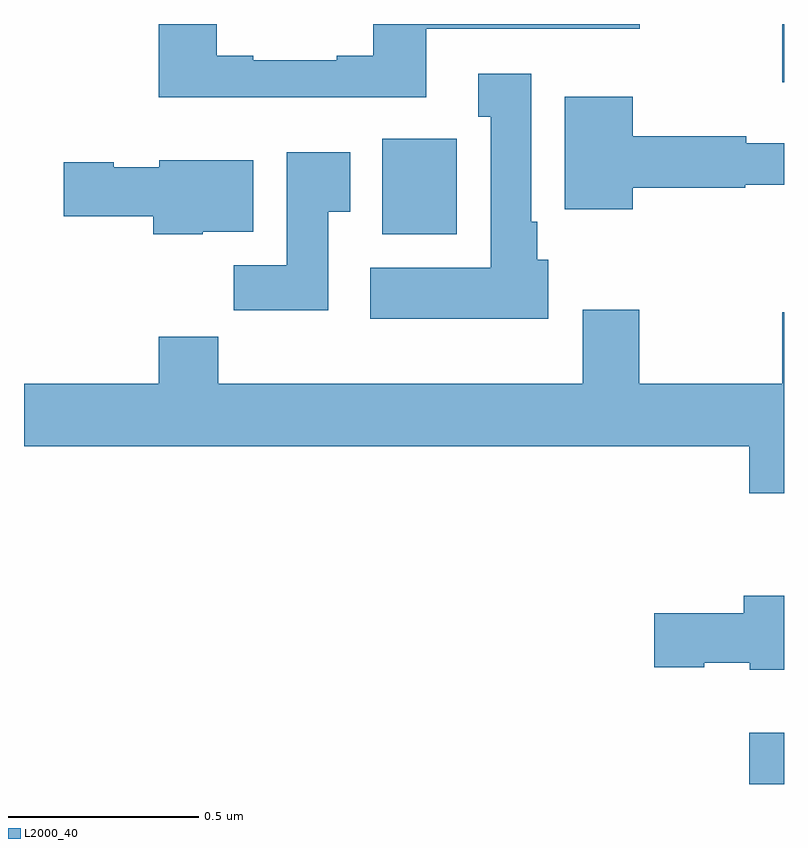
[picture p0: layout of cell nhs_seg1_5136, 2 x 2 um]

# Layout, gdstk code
import gdstk
lib = gdstk.Library(unit=1e-6, precision=1e-09)
def R(c, l, rs):  # rectangles x0, y0, x1, y1
    for r in rs: c.add(gdstk.rectangle(r[:2], r[2:], *l))
def P(c, l, *ps):  # polygons
    for p in ps: c.add(gdstk.Polygon(p, *l))
L2000_40 = (2000, 40)

nhs_seg1_5136 = lib.new_cell('nhs_seg1_5136')
R(nhs_seg1_5136, L2000_40, [(176.909,528.199,177,528.334), (175.943,529.646,176.139,529.897), (176.996,530.046,177,530.199)])
P(nhs_seg1_5136, L2000_40, [(176.059,530.187),(176.62,530.187),(176.62,530.199),(175.919,530.199),(175.919,530.116),(175.823,530.116),(175.823,530.103),(175.603,530.103),(175.603,530.116),(175.507,530.116),(175.507,530.199),(175.355,530.199),(175.355,530.006),(176.059,530.006)],
  [(176.38,529.578),(176.35,529.578),(176.35,529.678),(176.335,529.678),(176.335,530.068),(176.195,530.068),(176.195,529.955),(176.228,529.955),(176.228,529.558),(175.911,529.558),(175.911,529.424),(176.38,529.424)],
  [(176.602,529.768),(176.898,529.768),(176.898,529.776),(177,529.776),(177,529.885),(176.9,529.885),(176.9,529.904),(176.602,529.904),(176.602,530.008),(176.423,530.008),(176.423,529.712),(176.602,529.712)],
  [(175.801,529.705),(175.858,529.705),(175.858,529.861),(175.691,529.861),(175.691,529.564),(175.552,529.564),(175.552,529.446),(175.801,529.446)],
  [(175.47,529.652),(175.603,529.652),(175.603,529.84),(175.356,529.84),(175.356,529.822),(175.236,529.822),(175.236,529.835),(175.104,529.835),(175.104,529.693),(175.34,529.693),(175.34,529.646),(175.47,529.646)],
  [(177,529.441),(176.996,529.441),(176.996,529.252),(176.619,529.252),(176.619,529.447),(176.471,529.447),(176.471,529.252),(175.511,529.252),(175.511,529.376),(175.355,529.376),(175.355,529.252),(175,529.252),(175,529.088),(176.909,529.088),(176.909,528.964),(177,528.964)],
  [(177,528.694),(176.894,528.694),(176.894,528.648),(176.658,528.648),(176.658,528.506),(176.79,528.506),(176.79,528.518),(176.91,528.518),(176.91,528.5),(177,528.5)])

lib.write_gds('nhs_seg1_5136.gds')
